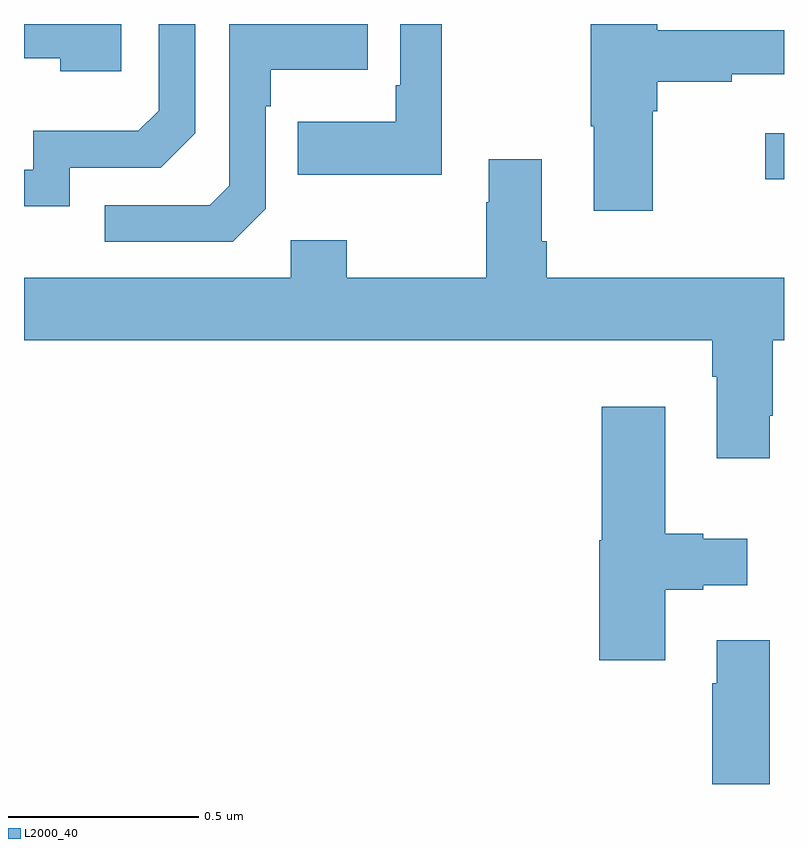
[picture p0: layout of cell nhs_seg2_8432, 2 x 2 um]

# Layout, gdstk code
import gdstk
lib = gdstk.Library(unit=1e-6, precision=1e-09)
def R(c, l, rs):  # rectangles x0, y0, x1, y1
    for r in rs: c.add(gdstk.rectangle(r[:2], r[2:], *l))
def P(c, l, *ps):  # polygons
    for p in ps: c.add(gdstk.Polygon(p, *l))
L2000_40 = (2000, 40)

nhs_seg2_8432 = lib.new_cell('nhs_seg2_8432')
R(nhs_seg2_8432, L2000_40, [(217.95,649.391,218,649.513)])
P(nhs_seg2_8432, L2000_40, [(217.654,649.571),(217.667,649.571),(217.667,649.648),(217.862,649.648),(217.862,649.668),(218,649.668),(218,649.784),(217.667,649.784),(217.667,649.8),(217.492,649.8),(217.492,649.531),(217.499,649.531),(217.499,649.308),(217.654,649.308)],
  [(216.636,649.314),(216.636,649.583),(216.649,649.583),(216.649,649.679),(216.905,649.679),(216.905,649.8),(216.54,649.8),(216.54,649.374),(216.489,649.323),(216.213,649.323),(216.213,649.227),(216.549,649.227)],
  [(217.099,649.8),(216.99,649.8),(216.99,649.639),(216.978,649.639),(216.978,649.543),(216.721,649.543),(216.721,649.403),(217.099,649.403)],
  [(216.12,649.422),(216.36,649.422),(216.45,649.512),(216.45,649.8),(216.354,649.8),(216.354,649.572),(216.301,649.519),(216.024,649.519),(216.024,649.416),(216,649.416),(216,649.32),(216.12,649.32)],
  [(216.256,649.8),(216,649.8),(216,649.71),(216.095,649.71),(216.095,649.676),(216.256,649.676)],
  [(217.963,648.769),(217.971,648.769),(217.971,648.968),(218,648.968),(218,649.132),(217.376,649.132),(217.376,649.228),(217.363,649.228),(217.363,649.444),(217.223,649.444),(217.223,649.331),(217.216,649.331),(217.216,649.132),(216.849,649.132),(216.849,649.231),(216.702,649.231),(216.702,649.132),(216,649.132),(216,648.968),(217.811,648.968),(217.811,648.872),(217.823,648.872),(217.823,648.657),(217.963,648.657)],
  [(217.687,648.311),(217.787,648.311),(217.787,648.323),(217.903,648.323),(217.903,648.445),(217.787,648.445),(217.787,648.458),(217.687,648.458),(217.687,648.793),(217.52,648.793),(217.52,648.441),(217.514,648.441),(217.514,648.126),(217.687,648.126)],
  [(217.963,648.178),(217.823,648.178),(217.823,648.065),(217.811,648.065),(217.811,647.8),(217.963,647.8)])

lib.write_gds('nhs_seg2_8432.gds')
